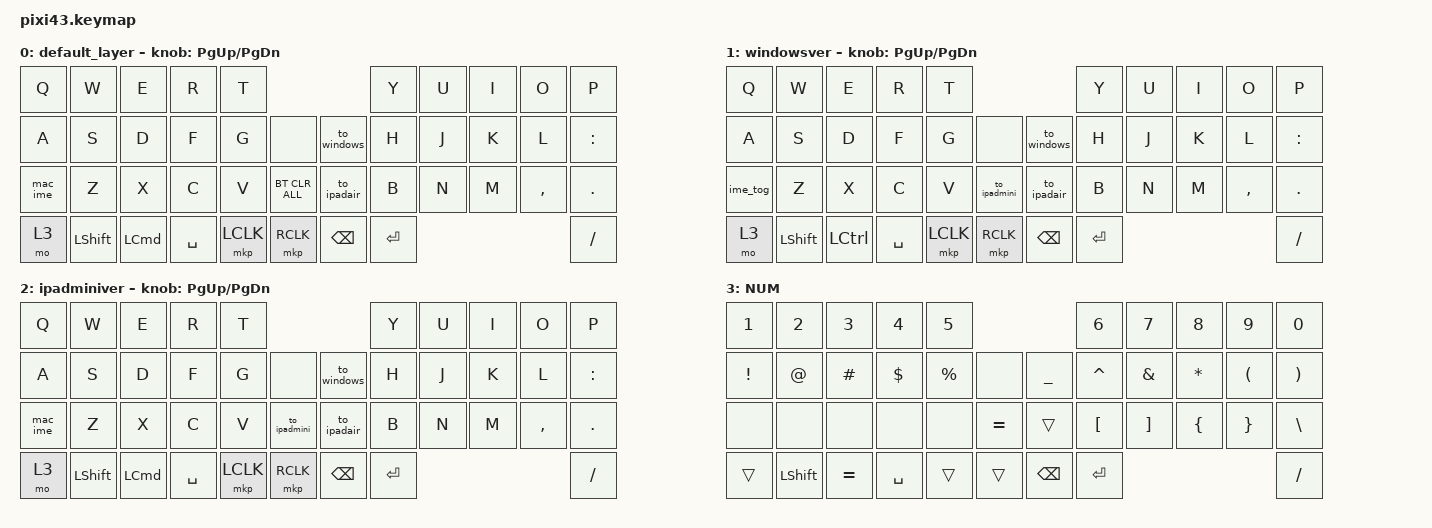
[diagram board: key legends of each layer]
#include <behaviors.dtsi>
#include <dt-bindings/zmk/bt.h>
#include <dt-bindings/zmk/keys.h>
#include <dt-bindings/zmk/pointing.h>

&mt {
    flavor = "balanced";
    quick-tap-ms = <0>;
};

&trackball {
    automouse-layer = <4>;
    scroll-layers = <5>;

    // arrows {
    //     layers = <3>;
    //     bindings =
    //         <&kp RIGHT_ARROW>,
    //         <&kp LEFT_ARROW>,
    //         <&kp UP_ARROW>,
    //         <&kp DOWN_ARROW>;
    //     tick = <10>;
    //     wait-ms = <5>;
    //     tap-ms = <5>;
    // };
};

/ {
    combos {
        compatible = "zmk,combos";

        tab {
            bindings = <&kp TAB>;
            key-positions = <11 12>;
        };

        shift_tab {
            bindings = <&kp LS(TAB)>;
            key-positions = <12 13>;
        };

        muhennkann {
            bindings = <&to_layer_0 INT_MUHENKAN>;
            key-positions = <11 10>;
        };

        double_quotation {
            bindings = <&kp DOUBLE_QUOTES>;
            key-positions = <20 21>;
        };

        eq {
            bindings = <&kp EQUAL>;
            key-positions = <24 25>;
        };
    };

    macros {
        to_layer_0: to_layer_0 {
            compatible = "zmk,behavior-macro-one-param";
            #binding-cells = <1>;
            bindings = <&to 0 &macro_param_1to1 &kp MACRO_PLACEHOLDER>;
            label = "TO_LAYER_0";
        };

        to_ipadair: to_ipadair {
            compatible = "zmk,behavior-macro";
            #binding-cells = <0>;
            bindings = <&bt BT_SEL 0 &to 0>;
            label = "TO_IPADAIR";
        };

        to_windows: to_windows {
            compatible = "zmk,behavior-macro";
            #binding-cells = <0>;
            bindings = <&bt BT_SEL 1 &to 0>;
            label = "TO_WINDOWS";
        };

        to_ipadmini: to_ipadmini {
            compatible = "zmk,behavior-macro";
            #binding-cells = <0>;
            bindings = <&bt BT_SEL 2 &to 0>;
            label = "TO_IPADMINI";
        };

        ime_tog: ime_tog {
            compatible = "zmk,behavior-macro";
            #binding-cells = <0>;
            bindings =
                <&macro_press>,
                <&kp LEFT_ALT>,
                <&macro_tap>,
                <&kp GRAVE>,
                <&macro_release>,
                <&kp LEFT_ALT>;

            label = "IME_TOG";
        };

        mac_ime: mac_ime {
            compatible = "zmk,behavior-macro";
            #binding-cells = <0>;
            bindings =
                <&macro_press>,
                <&kp CARET>,
                <&macro_tap>,
                <&kp SPACE>,
                <&macro_release>,
                <&kp CARET>;

            label = "MAC_IME";
        };
    };

    behaviors {
        lt_to_layer_0: lt_to_layer_0 {
            compatible = "zmk,behavior-hold-tap";
            label = "LAYER_TAP_TO_0";
            bindings = <&mo>, <&to_layer_0>;

            #binding-cells = <2>;
            tapping-term-ms = <200>;
        };
    };

    keymap {
        compatible = "zmk,keymap";

        default_layer {
            bindings = <
&kp Q     &kp W      &kp E             &kp R      &kp T                                       &kp Y    &kp U  &kp I  &kp O      &kp P
&kp A     &kp S      &kp D             &kp F      &kp G      &none               &to_windows  &kp H    &kp J  &kp K  &kp L      &kp COLON
&mac_ime  &kp Z      &kp X             &kp C      &kp V      &bt BT_CLR_ALL      &to_ipadair  &kp B    &kp N  &kp M  &kp COMMA  &kp DOT
&mo 3     &kp LSHFT  &kp LEFT_COMMAND  &kp SPACE  &mkp LCLK  &mkp RCLK           &kp BSPC     &kp RET                           &kp FSLH
            >;

            sensor-bindings = <&inc_dec_kp PG_UP PAGE_DOWN>;
        };

        windowsver {
            bindings = <
&kp Q     &kp W      &kp E      &kp R      &kp T                                     &kp Y    &kp U  &kp I  &kp O      &kp P
&kp A     &kp S      &kp D      &kp F      &kp G      &none             &to_windows  &kp H    &kp J  &kp K  &kp L      &kp COLON
&ime_tog  &kp Z      &kp X      &kp C      &kp V      &to_ipadmini      &to_ipadair  &kp B    &kp N  &kp M  &kp COMMA  &kp DOT
&mo 3     &kp LSHFT  &kp LCTRL  &kp SPACE  &mkp LCLK  &mkp RCLK         &kp BSPC     &kp RET                           &kp FSLH
            >;

            sensor-bindings = <&inc_dec_kp PG_UP PAGE_DOWN>;
        };

        ipadminiver {
            bindings = <
&kp Q     &kp W      &kp E             &kp R      &kp T                                     &kp Y    &kp U  &kp I  &kp O      &kp P
&kp A     &kp S      &kp D             &kp F      &kp G      &none             &to_windows  &kp H    &kp J  &kp K  &kp L      &kp COLON
&mac_ime  &kp Z      &kp X             &kp C      &kp V      &to_ipadmini      &to_ipadair  &kp B    &kp N  &kp M  &kp COMMA  &kp DOT
&mo 3     &kp LSHFT  &kp LEFT_COMMAND  &kp SPACE  &mkp LCLK  &mkp RCLK         &kp BSPC     &kp RET                           &kp FSLH
            >;

            sensor-bindings = <&inc_dec_kp PG_UP PAGE_DOWN>;
        };

        NUM {
            bindings = <
&kp N1           &kp N2     &kp N3     &kp N4      &kp N5                                      &kp N6            &kp N7             &kp N8          &kp N9                &kp N0
&kp EXCLAMATION  &kp AT     &kp HASH   &kp DOLLAR  &kp PERCENT  &none          &kp UNDERSCORE  &kp CARET         &kp AMPERSAND      &kp ASTERISK    &kp LEFT_PARENTHESIS  &kp RIGHT_PARENTHESIS
&none            &none      &none      &none       &none        &kp EQUAL      &trans          &kp LEFT_BRACKET  &kp RIGHT_BRACKET  &kp LEFT_BRACE  &kp RIGHT_BRACE       &kp BACKSLASH
&trans           &kp LSHFT  &kp EQUAL  &kp SPACE   &trans       &trans         &kp BSPC        &kp RET                                                                    &kp FSLH
            >;
        };
    };
};
